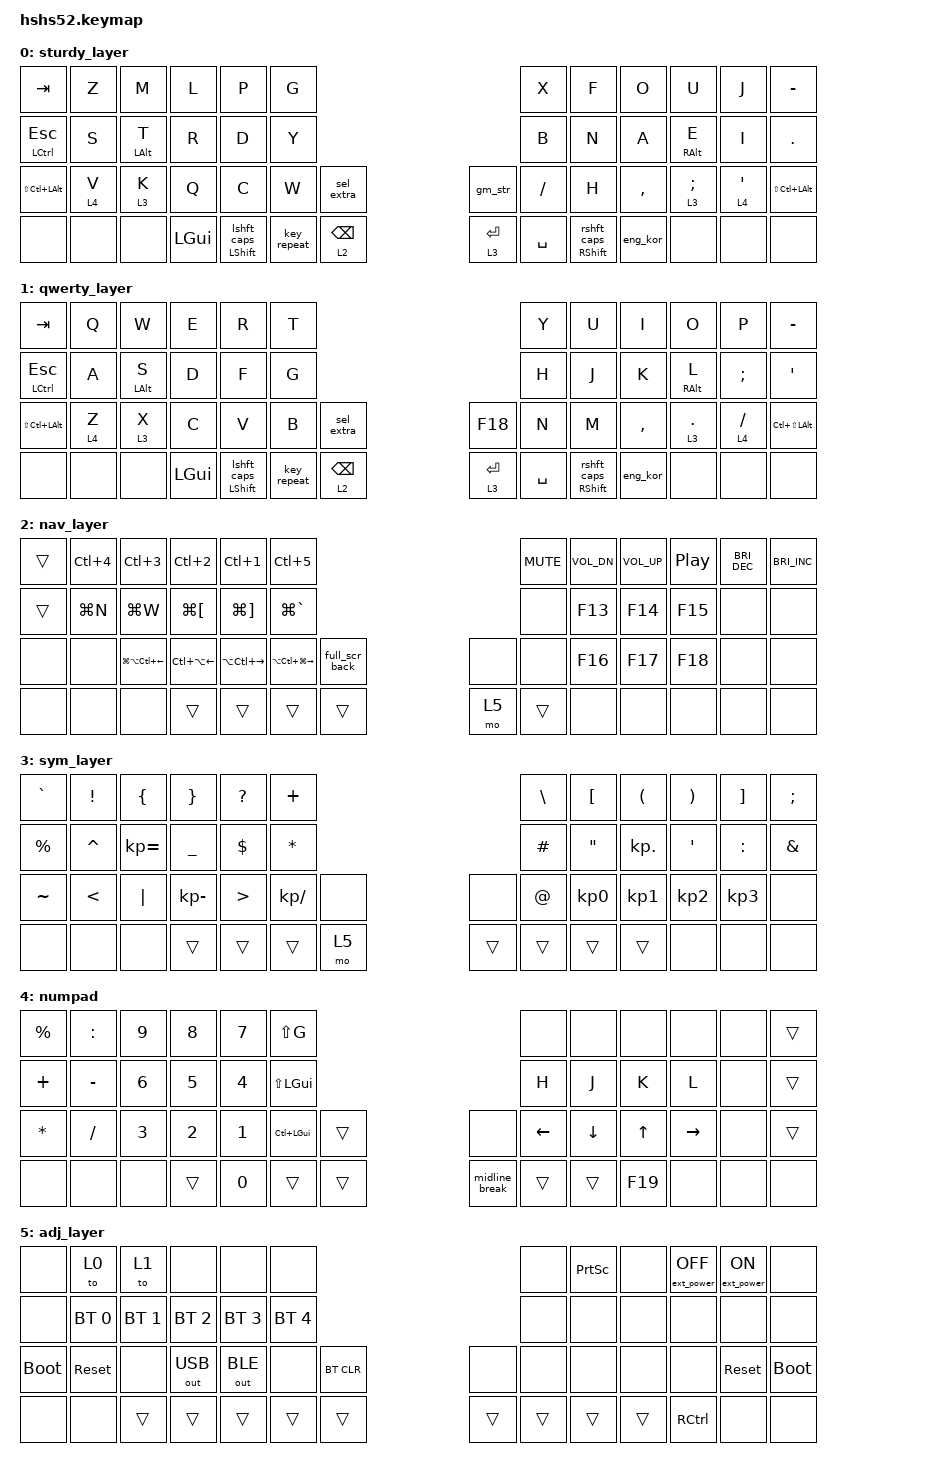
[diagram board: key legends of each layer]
/*
 * Copyright (c) 2021-2022 The ZMK Contributors
 *
 * SPDX-License-Identifier: MIT
 */

#include <behaviors.dtsi>
#include <dt-bindings/zmk/bt.h>
#include <dt-bindings/zmk/ext_power.h>
#include <dt-bindings/zmk/keys.h>
#include <dt-bindings/zmk/outputs.h>

#define QWERTY_L 0
#define GRAPHITE_L 1
#define NIGHT_L 2
#define NAV_L    3
#define SYM_L    4
#define ADJ_L    5

&lt { require-prior-idle-ms = <130>; };

/ {
    behaviors {
        lshft_caps: lshft_caps {
            compatible = "zmk,behavior-mod-morph";
            label = "LSHFT_CAPS";
            bindings = <&osm LSHFT>, <&caps_word>;

            #binding-cells = <0>;
            mods = <(MOD_LSFT)>;
        };

        rshft_caps: rshft_caps {
            compatible = "zmk,behavior-mod-morph";
            label = "RSHFT_CAPS";
            bindings = <&osm RSHFT>, <&caps_word>;

            #binding-cells = <0>;
            mods = <(MOD_RSFT)>;
        };

        sksft_caps_ho_l: sksft_caps_ho_l {
            compatible = "zmk,behavior-hold-tap";
            label = "SKSFT_CAPS_HO_L";
            bindings = <&kp>, <&lshft_caps>;

            #binding-cells = <2>;
            tapping-term-ms = <200>;
            quick-tap-ms = <150>;
            require-prior-idle-ms = <130>;
            flavor = "tap-preferred";
        };

        mo_tog: mo_tog {
            compatible = "zmk,behavior-hold-tap";
            label = "MO_TOG";
            bindings = <&mo>, <&tog>;

            #binding-cells = <2>;
            tapping-term-ms = <200>;
        };

        osm: osm {
            compatible = "zmk,behavior-sticky-key";
            label = "OSM";
            bindings = <&kp>;
            #binding-cells = <1>;
            release-after-ms = <250>;
            quick-release;
            ignore-modifiers;
        };

        sksft_caps_ho_r: sksft_caps_ho_r {
            compatible = "zmk,behavior-hold-tap";
            label = "SKSFT_CAPS_HO_R";
            bindings = <&kp>, <&rshft_caps>;

            #binding-cells = <2>;
            tapping-term-ms = <200>;
            quick-tap-ms = <150>;
            require-prior-idle-ms = <130>;
            flavor = "tap-preferred";
        };

        homerow_l: homerow_l {
            compatible = "zmk,behavior-hold-tap";
            label = "HOMEROW_L";
            bindings = <&kp>, <&kp>;

            #binding-cells = <2>;
            tapping-term-ms = <200>;
            quick-tap-ms = <150>;
            require-prior-idle-ms = <130>;
            flavor = "tap-preferred";
        };

        mo_repeat: mo_repeat {
            compatible = "zmk,behavior-hold-tap";
            label = "MO_REPEAT";
            bindings = <&mo>, <&key_repeat>;

            #binding-cells = <2>;
            tapping-term-ms = <185>;
            quick-tap-ms = <150>;
            require-prior-idle-ms = <125>;
            flavor = "tap-preferred";
        };

        meh_midline_break: meh_midline_break {
            compatible = "zmk,behavior-mod-morph";
            label = "MEH_MIDLINE_BREAK";
            bindings = <&kp RET>, <&midline_break>;

            #binding-cells = <0>;
            mods = <(MOD_LCTL|MOD_LSFT|MOD_LALT)>;
        };

        mo_ret_meh: mo_ret_meh {
            compatible = "zmk,behavior-hold-tap";
            label = "MO_RET_MEH";
            bindings = <&mo>, <&meh_midline_break>;

            #binding-cells = <2>;
            tapping-term-ms = <185>;
            quick-tap-ms = <150>;
            require-prior-idle-ms = <125>;
            flavor = "tap-preferred";
        };

        full_scr_back: full_scr_back {
            compatible = "zmk,behavior-tap-dance";
            label = "FULL_SCR_BACK";
            #binding-cells = <0>;
            bindings = <&kp LA(LC(RET))>, <&kp LA(LC(BACKSPACE))>;

            tapping-term-ms = <185>;
        };

        rpt_mod_hold: rpt_mod_hold {
            compatible = "zmk,behavior-hold-tap";
            label = "RPT_MOD_HOLD";
            bindings = <&kp>, <&key_repeat>;

            #binding-cells = <2>;
            tapping-term-ms = <200>;
            flavor = "tap-preferred";
            require-prior-idle-ms = <130>;
        };
    };

    combos {
        compatible = "zmk,combos";

        up {
            bindings = <&kp UP_ARROW>;
            key-positions = <36 50>;
            layers = <0 2>;
        };

        cp {
            bindings = <&kp LG(C)>;
            key-positions = <27 26>;
            layers = <0 2>;
            require-prior-idle-ms = <125>;
        };

        paste {
            bindings = <&kp LG(V)>;
            key-positions = <28 27>;
            layers = <0 1>;
            require-prior-idle-ms = <125>;
        };

        undo {
            bindings = <&kp LG(Z)>;
            key-positions = <25 26>;
            layers = <0 1>;
            require-prior-idle-ms = <125>;
        };

        spc_eql {
            bindings = <&spc_eqls>;
            key-positions = <31 46>;
            layers = <0 1 3>;
        };

        underscore_cb {
            bindings = <&kp UNDER>;
            key-positions = <10 11>;
            layers = <0 1>;
        };

        cut_cb {
            bindings = <&kp LG(X)>;
            key-positions = <2 3>;
            layers = <0 2>;
            require-prior-idle-ms = <125>;
        };

        sel.all_cb {
            bindings = <&kp LG(A)>;
            key-positions = <13 1>;
            layers = <0 1>;
            require-prior-idle-ms = <125>;
        };

        sel.word_cb {
            bindings = <&select_word>;
            key-positions = <17 29>;
            layers = <0 1>;
            require-prior-idle-ms = <125>;
        };

        sel.line_cb {
            bindings = <&sel_line>;
            key-positions = <5 17>;
            layers = <0 1>;
            require-prior-idle-ms = <125>;
        };

        tog4 {
            bindings = <&tog 4>;
            key-positions = <1 5>;
            layers = <0 1>;
        };
    };

    macros {
        eng_kor: eng_kor {
            compatible = "zmk,behavior-macro";
            #binding-cells = <0>;
            bindings = <&kp F19 &tog 1>;
            label = "ENG_KOR";
        };

        spc_eqls: spc_eqls {
            compatible = "zmk,behavior-macro";
            #binding-cells = <0>;
            bindings = <&kp SPACE &kp EQUAL &kp SPACE>;
            label = "SPC_EQLS";
        };

        select_word: select_word {
            compatible = "zmk,behavior-macro";
            #binding-cells = <0>;
            bindings = <&kp LA(LEFT_ARROW) &kp LS(LA(RIGHT_ARROW))>;
            label = "SELECT_WORD";
        };

        midline_break: midline_break {
            compatible = "zmk,behavior-macro";
            #binding-cells = <0>;
            bindings = <&kp LG(RIGHT_ARROW) &kp RET>;
            label = "MIDLINE_BREAK";
        };

        prd_spc: prd_spc {
            compatible = "zmk,behavior-macro";
            #binding-cells = <0>;
            bindings = <&kp KP_DOT &kp SPACE>;
            label = "PRD_SPC";
        };

        gm_str: gm_str {
            compatible = "zmk,behavior-macro";
            #binding-cells = <0>;
            bindings = <&kp AT &kp G &kp M &kp A &kp I &kp L &kp DOT &kp C &kp O &kp M>;
            label = "GM_STR";
        };

        sel_line: sel_line {
            compatible = "zmk,behavior-macro";
            #binding-cells = <0>;
            bindings = <&kp LG(LEFT_ARROW) &kp LG(LS(RIGHT_ARROW))>;
            label = "SEL_LINE";
        };

        sel_extra: sel_extra {
            compatible = "zmk,behavior-macro";
            #binding-cells = <0>;
            bindings = <&kp LS(LA(RIGHT_ARROW))>;
            label = "SEL_EXTRA";
        };
    };

    keymap {
        compatible = "zmk,keymap";

        sturdy_layer {
            bindings = <
&kp TAB               &kp Z    &kp M                  &kp L  &kp P     &kp G                                                                         &kp X                     &kp F     &kp O      &kp U                   &kp J      &kp MINUS
&mt LCTRL ESCAPE      &kp S    &homerow_l LEFT_ALT T  &kp R  &kp D     &kp Y                                                                         &kp B                     &kp N     &kp A      &homerow_l RIGHT_ALT E  &kp I      &kp DOT
&kp LS(LC(LEFT_ALT))  &lt 4 V  &lt 3 K                &kp Q  &kp C     &kp W                     &sel_extra                               &gm_str    &kp SLASH                 &kp H     &kp COMMA  &lt 3 SEMICOLON         &lt 4 SQT  &kp LS(LC(LEFT_ALT))
&none                 &none    &none                         &kp LGUI  &sksft_caps_ho_l LSHFT 0  &key_repeat  &lt 2 BACKSPACE  &lt 3 RET  &kp SPACE  &sksft_caps_ho_r RSHFT 0  &eng_kor             &none                   &none      &none
            >;
        };

        qwerty_layer {
            /* QWERTY
 * -------------------------------------------------------------------------------------------------------------------------------------
 * | `     |   Q   |   W   |   E   |   R   |   T   |-----------------------------------|   Y   |   U   |   I   |   O   |   P   | BKSPC |
 * | TAB   |   A   |   S   |   D   |   F   |   G   |-----------------------------------|   H   |   J   |   K   |   L   |   ;   | ENTER |
 * | SHIFT |   Z   |   X   |   C   |   V   |   B   |   '   |-------------------|   /   |   N   |   M   |   ,   |   .   |  Up   | SHIFT |
 * | Mute  |  ESC  | CTRL  |-------|  GUI  |  ALT  |SK SHFT|  Nav  |---|  Sym  | SPACE |  ALT  |  GUI  |-------| Left  | Down  | Right |
 */

            bindings = <
&kp TAB           &kp Q    &kp W                  &kp E  &kp R     &kp T                                                                         &kp Y                     &kp U     &kp I      &kp O                   &kp P        &kp MINUS
&mt LCTRL ESCAPE  &kp A    &homerow_l LEFT_ALT S  &kp D  &kp F     &kp G                                                                         &kp H                     &kp J     &kp K      &homerow_l RIGHT_ALT L  &kp SEMI     &kp APOS
&kp LS(LC(LALT))  &lt 4 Z  &lt 3 X                &kp C  &kp V     &kp B                     &sel_extra                               &kp F18    &kp N                     &kp M     &kp COMMA  &lt 3 PERIOD            &lt 4 SLASH  &kp LC(LS(LEFT_ALT))
&none             &none    &none                         &kp LGUI  &sksft_caps_ho_l LSHFT 0  &key_repeat  &lt 2 BACKSPACE  &lt 3 RET  &kp SPACE  &sksft_caps_ho_r RSHFT 0  &eng_kor             &none                   &none        &none
            >;
        };

        nav_layer {
            /* NAV
 * -------------------------------------------------------------------------------------------------------------------------------------
 * | Copy  |   1   |   2   |   3   |   4   |   5   |-----------------------------------|   6   |   7   |   8   |   9   |   0   | BSPC  |
 * | Cut   |  GUI  |  Alt  | Ctrl  | Shift | Paste |-----------------------------------| PG UP |  Left |  Up   |  Down | Right | PG DN |
 * | Shift |  F1   |  F2   |  F3   |  F4   |  F5   |  UnDo |-------------------| ReDo  |  F6   |  F7   |  F8   |  F9   |  F10  | Shift |
 * | F11   |  F12  |       |-------|       |       |       |       |---| ADJ_L |       |       |       |-------| CTRL  | HOME  |  END  |
 */

            bindings = <
&trans  &kp LC(NUMBER_4)  &kp LC(NUMBER_3)            &kp LC(NUMBER_2)        &kp LC(NUMBER_1)         &kp LC(N5)                                                          &kp C_MUTE  &kp C_VOL_DN  &kp C_VOLUME_UP  &kp C_PLAY_PAUSE  &kp C_BRIGHTNESS_DEC  &kp C_BRIGHTNESS_INC
&trans  &kp LG(N)         &kp LG(W)                   &kp LG(LEFT_BRACKET)    &kp LG(RIGHT_BRACKET)    &kp LG(GRAVE)                                                       &none       &kp F13       &kp F14          &kp F15           &none                 &none
&none   &none             &kp LG(LA(LC(LEFT_ARROW)))  &kp LC(LA(LEFT_ARROW))  &kp LA(LC(RIGHT_ARROW))  &kp LA(LC(LG(RIGHT_ARROW)))  &full_scr_back                 &none   &none       &kp F16       &kp F17          &kp F18           &none                 &none
&none   &none             &none                                               &trans                   &trans                       &trans          &trans  &mo 5  &trans  &none       &none                          &none             &none                 &none
            >;
        };

        sym_layer {
            /* SYM
 * -------------------------------------------------------------------------------------------------------------------------------------
 * | GRAVE |   !   |   @   |   #   |   $   |   %   |-----------------------------------|   ^   |   &   |   *   |   (   |   )   | DELETE|
 * | CAPS  |   \   |   -   |   =   |   [   |   ]   |-----------------------------------| Vol+  | Shift | Ctrl  | Alt   | Gui   | ENTER |
 * | Shift |   |   |   _   |   +   |   {   |   }   | Play  |-------------------| Mute  | Vol-  |  N0   |  N1   |  N2   |       | SHIFT |
 * |       |       |       |-------|       |       |       |  ADJ_L |---|      |       |       |       |-------| CTRL  | MENU  |SkAltGr|
 */

            bindings = <
&kp GRAVE    &kp EXCL       &kp LBRC      &kp RBRC      &kp QUESTION  &kp PLUS                                     &kp BSLH     &kp LBKT         &kp LEFT_PARENTHESIS  &kp RPAR         &kp RBKT         &kp SEMICOLON
&kp PERCENT  &kp CARET      &kp KP_EQUAL  &kp UNDER     &kp DOLLAR    &kp ASTRK                                    &kp POUND    &kp DQT          &kp KP_DOT            &kp SQT          &kp COLON        &kp AMPERSAND
&kp TILDE    &kp LESS_THAN  &kp PIPE      &kp KP_MINUS  &kp GT        &kp KP_SLASH  &none                  &none   &kp AT_SIGN  &kp KP_NUMBER_0  &kp KP_NUMBER_1       &kp KP_NUMBER_2  &kp KP_NUMBER_3  &none
&none        &none          &none                       &trans        &trans        &trans  &mo 5  &trans  &trans  &trans       &trans                                 &none            &none            &none
            >;
        };

        numpad {
            bindings = <
&kp PERCENT   &kp COLON  &kp N9        &kp N8  &kp N7  &kp LS(G)                                                 &none           &none           &none         &none            &none  &trans
&kp PLUS      &kp MINUS  &kp N6        &kp N5  &kp N4  &kp LS(LEFT_GUI)                                          &kp H           &kp J           &kp K         &kp L            &none  &trans
&kp ASTERISK  &kp SLASH  &kp NUMBER_3  &kp N2  &kp N1  &kp LC(LEFT_GUI)  &trans                          &none   &kp LEFT_ARROW  &kp DOWN_ARROW  &kp UP_ARROW  &kp RIGHT_ARROW  &none  &trans
&none         &none      &none                 &trans  &kp N0            &trans  &trans  &midline_break  &trans  &trans          &kp F19                       &none            &none  &none
            >;
        };

        adj_layer {
            /* ADJUST
 * -------------------------------------------------------------------------------------------------------------------------------------
 * |       | QWERTY| DVORAK| COLEMK|       |       |-----------------------------------|       |Prt Scr|       | EP_OFF| EP_ON |       |
 * |       | BT 0  | BT 1  | BT 2  | BT 3  | BT 4  |-----------------------------------|       |       |       |       |       |       |
 * | BOOTL | RESET |       |OUT_USB|OUT_BLE|       |BT CLR |-------------------|       |       |       |       |       |       | SHIFT |
 * ----------------|       |-------|       |       |       |       |---|       |       |       |       |-------| CTRL  |----------------
 */

            bindings = <
&none        &to 0         &to 1         &none         &none         &none                                             &none   &kp PRINTSCREEN  &none  &ext_power EP_OFF  &ext_power EP_ON  &none
&none        &bt BT_SEL 0  &bt BT_SEL 1  &bt BT_SEL 2  &bt BT_SEL 3  &bt BT_SEL 4                                      &none   &none            &none  &none              &none             &none
&bootloader  &sys_reset    &none         &out OUT_USB  &out OUT_BLE  &none         &bt BT_CLR                  &none   &none   &none            &none  &none              &sys_reset        &bootloader
&none        &none         &trans                      &trans        &trans        &trans      &trans  &trans  &trans  &trans  &trans                  &kp RCTRL          &none             &none
            >;
        };
    };
};
